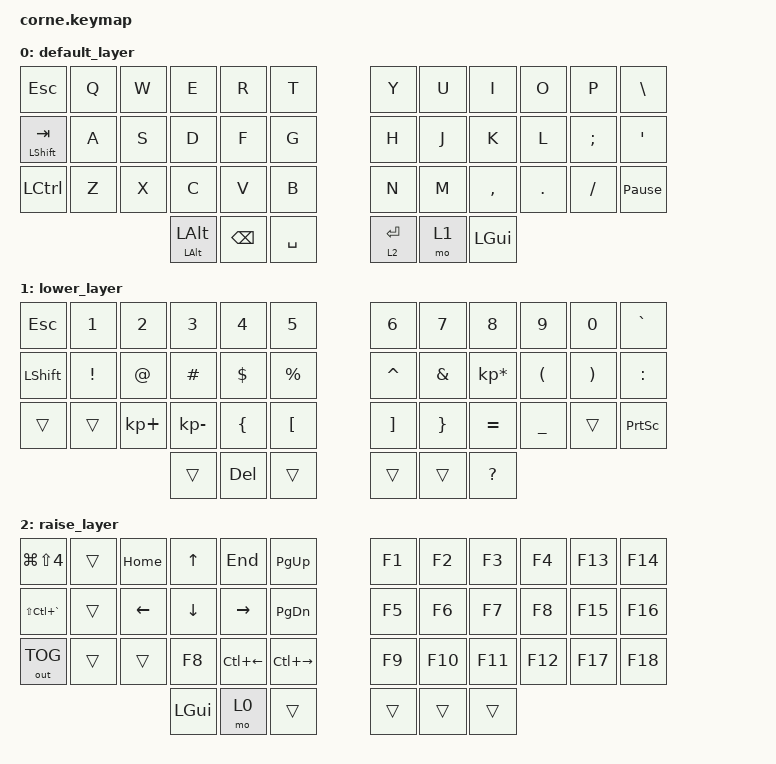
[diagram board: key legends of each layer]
/*
 * Copyright (c) 2020 The ZMK Contributors
 *
 * SPDX-License-Identifier: MIT
 * To use home rows - &hm LSHFT F
 */

#include <behaviors.dtsi>
#include <dt-bindings/zmk/keys.h>
#include <dt-bindings/zmk/outputs.h>

#define QWERTY 0
#define NUMB 1
#define NAVI 2
#define ADJUST 3

/ {
    behaviors {
        hm: homerow_mods {
            compatible = "zmk,behavior-hold-tap";
            label = "HOMEROW_MODS";
            #binding-cells = <2>;
            tapping-term-ms = <150>;
            quick_tap_ms = <0>;
            flavor = "tap-preferred";
            bindings = <&kp>, <&kp>;
        };
    };

    keymap {
        compatible = "zmk,keymap";

        default_layer {
            // .--------------------------------------------------------------.       .-----------------------------------------------------------.
            // |   ESC        |    Q    |    W   |   E    |    R    |    T    |       |   Y   |    U    |    I    |    O    |     P    |    \     |
            // |--------------+---------+--------+--------+---------+---------|       |-------+---------+---------+---------+----------+----------|
            // |   CTRL/Tab   |    A    |    S   |   D    |    F    |    G    |       |   H   |    J    |    K    |    L    |     ;    |     '    |
            // |--------------+---------+--------+--------+---------+---------|       |-------+---------+---------+---------+----------+----------|
            // |   SHFT       |    Z    |    X   |   C    |    V    |    B    |       |   N   |    M    |    ,    |    .    |     /    | ` | ALT  |
            // '---------------------------------+--------+---------+---------+       |-------+---------+---------+-------------------------------'
            //                                   |  GUI   |   MO1   |   ENT   |       |  SPC  |   BKSP  |  CAPS   |
            //                                   '--------+---------+---------'       '-------+---------+---------'

            bindings = <
&kp ESC             &kp Q  &kp W  &kp E                  &kp R          &kp T        &kp Y      &kp U  &kp I         &kp O    &kp P     &kp BACKSLASH
&mt LEFT_SHIFT TAB  &kp A  &kp S  &kp D                  &kp F          &kp G        &kp H      &kp J  &kp K         &kp L    &kp SEMI  &kp SQT
&kp LEFT_CONTROL    &kp Z  &kp X  &kp C                  &kp V          &kp B        &kp N      &kp M  &kp COMMA     &kp DOT  &kp FSLH  &kp PAUSE_BREAK
                                  &mt LEFT_ALT LEFT_ALT  &kp BACKSPACE  &kp SPACE    &lt 2 RET  &mo 1  &kp LEFT_GUI
            >;
        };

        lower_layer {
            // .--------------------------------------------------------------.       .-----------------------------------------------------------.
            // |   ESC        |    1    |    2   |   3    |    4    |    5    |       |   6   |    7    |    8    |    9    |     0    |    `     |
            // |--------------+---------+--------+--------+---------+---------|       |-------+---------+---------+---------+----------+----------|
            // |              |    !    |    @   |   #    |    $    |    %    |       |   ^   |    &    |    *    |    (    |     )    |     :    |
            // |--------------+---------+--------+--------+---------+---------|       |-------+---------+---------+---------+----------+----------|
            // |   SHFT       |         |    +   |   -    |    {    |    [    |       |   ]   |    }    |    =    |    _    |          |          |
            // '---------------------------------+--------+---------+---------+       |-------+---------+---------+-------------------------------'
            //                                   |  GUI   |         |   MO3   |       |   ,   |    .    |   ?     |
            //                                   '--------+---------+---------'       '-------+---------+---------'

            bindings = <
&kp ESC         &kp N1    &kp N2       &kp N3        &kp N4          &kp N5              &kp N6             &kp N7           &kp N8           &kp N9          &kp N0    &kp GRAVE
&kp LEFT_SHIFT  &kp EXCL  &kp AT       &kp HASH      &kp DLLR        &kp PRCNT           &kp CARET          &kp AMPS         &kp KP_MULTIPLY  &kp LPAR        &kp RPAR  &kp COLON
&trans          &trans    &kp KP_PLUS  &kp KP_MINUS  &kp LEFT_BRACE  &kp LEFT_BRACKET    &kp RIGHT_BRACKET  &kp RIGHT_BRACE  &kp EQUAL        &kp UNDERSCORE  &trans    &kp PRINTSCREEN
                                       &trans        &kp DEL         &trans              &trans             &trans           &kp QUESTION
            >;
        };

        raise_layer {
            // .----------------------------------------------------------------.       .-----------------------------------------------------------------.
            // |   CMD+SHIFT+4  |       |   PU   |   UP   |    PD    |   HOME   |       |  HOME   |    PU    |    UP   |   PD    |          | CMD+SHIFT+4 |
            // |----------------+-------+--------+--------+----------+----------|       |---------+----------+---------+---------+----------+-------------|
            // |                |       |  LEFT  |  DOWN  |   RIGHT  |   END    |       |  END    |   LEFT   |   DOWN  |  RIGHT  |          |             |
            // |----------------+-------+--------+--------+----------+----------|       |---------+----------+---------+---------+----------+-------------|
            // |     OUT_TOG    |       |        |        |CTRL+LEFT |CTRL+RIGHT|       |CTRL+LEFT|CTRL+RIGHT|         |         |          |   OUT_TOG   |
            // '---------------------------------+--------+----------+----------+       |---------+----------+---------+----------------------------------'
            //                                   |  GUI   |   MO3    |          |       |         |          |         |
            //                                   '--------+----------+----------'       '---------+----------+---------'

            bindings = <
&kp LG(LS(N4))     &trans  &kp HOME        &kp UP_ARROW    &kp END             &kp PAGE_UP            &kp F1  &kp F2   &kp F3   &kp F4   &kp F13  &kp F14
&kp LS(LC(GRAVE))  &trans  &kp LEFT_ARROW  &kp DOWN_ARROW  &kp RIGHT_ARROW     &kp PAGE_DOWN          &kp F5  &kp F6   &kp F7   &kp F8   &kp F15  &kp F16
&out OUT_TOG       &trans  &trans          &kp F8          &kp LC(LEFT_ARROW)  &kp LC(RIGHT_ARROW)    &kp F9  &kp F10  &kp F11  &kp F12  &kp F17  &kp F18
                                           &kp LGUI        &mo 0               &trans                 &trans  &trans   &trans
            >;
        };
    };
};
